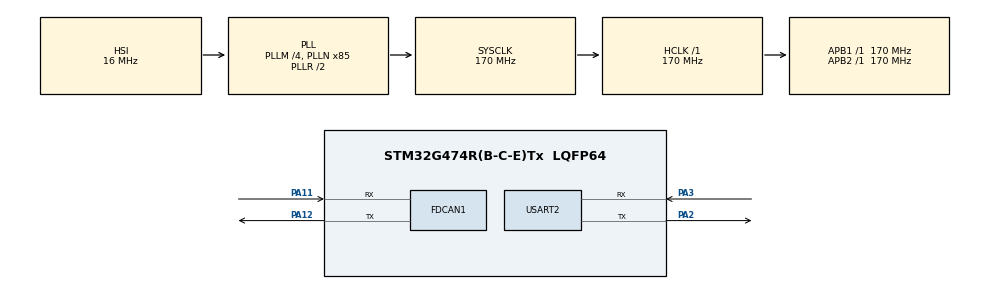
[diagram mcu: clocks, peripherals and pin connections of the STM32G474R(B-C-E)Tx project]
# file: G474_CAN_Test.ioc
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FDCAN1.CalculateBaudRateNominal=500000
FDCAN1.CalculateTimeBitNominal=2000
FDCAN1.CalculateTimeQuantumNominal=100.0
FDCAN1.NominalPrescaler=17
FDCAN1.NominalTimeSeg1=17
FDCAN1.NominalTimeSeg2=2
FREERTOS.Tasks01=defaultTask,0,128,StartDefaultTask,Default,NULL,Dynamic,NULL,NULL
FREERTOS.configCHECK_FOR_STACK_OVERFLOW=1
FREERTOS.configTOTAL_HEAP_SIZE=16384
Mcu.Family=STM32G4
Mcu.Name=STM32G474R(B-C-E)Tx
Mcu.Package=LQFP64
NUCLEO-G474RE.BUTTON=0
NUCLEO-G474RE.LD2=false
NUCLEO-G474RE.VCP=false
NVIC.FDCAN1_IT0_IRQn=true\:5\:0\:false\:false\:true\:true\:true\:true\:true
NVIC.FDCAN1_IT1_IRQn=true\:5\:0\:false\:false\:true\:true\:true\:true\:true
NVIC.PriorityGroup=NVIC_PRIORITYGROUP_4
NVIC.TIM1_UP_TIM16_IRQn=true\:15\:0\:false\:false\:true\:false\:false\:true\:true
NVIC.TimeBase=TIM1_UP_TIM16_IRQn
NVIC.TimeBaseIP=TIM1
NVIC.USART2_IRQn=true\:5\:0\:true\:false\:true\:true\:true\:true\:true
PA11.Mode=FDCAN_Activate
PA11.Signal=FDCAN1_RX
PA12.Mode=FDCAN_Activate
PA12.Signal=FDCAN1_TX
PA2.Mode=Asynchronous
PA2.Signal=USART2_TX
PA3.Mode=Asynchronous
PA3.Signal=USART2_RX
PB3.GPIO_Label=T_SWO
PB3.Signal=SYS_JTDO-SWO
PC14-OSC32_IN.GPIO_Label=RCC_OSC32_IN
PC14-OSC32_IN.Signal=RCC_OSC32_IN
PC15-OSC32_OUT.GPIO_Label=RCC_OSC32_OUT
PC15-OSC32_OUT.Signal=RCC_OSC32_OUT
PF0-OSC_IN.GPIO_Label=RCC_OSC_IN
PF0-OSC_IN.Signal=RCC_OSC_IN
PF1-OSC_OUT.GPIO_Label=RCC_OSC_OUT
PF1-OSC_OUT.Signal=RCC_OSC_OUT
ProjectManager.HeapSize=0x200
ProjectManager.StackSize=0x400
ProjectManager.TargetToolchain=CMake
RCC.ADC12Freq_Value=170000000
RCC.ADC345Freq_Value=170000000
RCC.AHBFreq_Value=170000000
RCC.APB1Freq_Value=170000000
RCC.APB1TimFreq_Value=170000000
RCC.APB2Freq_Value=170000000
RCC.APB2TimFreq_Value=170000000
RCC.CortexFreq_Value=170000000
RCC.EXTERNAL_CLOCK_VALUE=12288000
RCC.HCLKFreq_Value=170000000
RCC.HSE_VALUE=24000000
RCC.HSI48_VALUE=48000000
RCC.HSI_VALUE=16000000
RCC.LSE_VALUE=32768
RCC.PLLM=RCC_PLLM_DIV4
RCC.PLLN=85
RCC.RTCClockSelection=RCC_RTCCLKSOURCE_LSE
RCC.SYSCLKFreq_VALUE=170000000
RCC.SYSCLKSource=RCC_SYSCLKSOURCE_PLLCLK
RCC.USBFreq_Value=170000000
RCC.VCOOutputFreq_Value=340000000
USART2.VirtualMode-Asynchronous=VM_ASYNC
VP_FREERTOS_VS_CMSIS_V1.Mode=CMSIS_V1
VP_NUCLEO-G474RE_VS_BSP_COMMON.Mode=COMMON
VP_SYS_VS_DBSignals.Mode=DisableDeadBatterySignals
VP_SYS_VS_tim1.Mode=TIM1
board=NUCLEO-G474RE

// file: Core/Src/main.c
/* USER CODE BEGIN Header */
/**
  ******************************************************************************
  * @file           : main.c
  * @brief          : Main program body
  ******************************************************************************
  * @attention
  *
  * Copyright (c) 2026 STMicroelectronics.
  * All rights reserved.
  *
  * This software is licensed under terms that can be found in the LICENSE file
  * in the root directory of this software component.
  * If no LICENSE file comes with this software, it is provided AS-IS.
  *
  ******************************************************************************
  */
/* USER CODE END Header */
#include "main.h"
#include "cmsis_os.h"
#include "fdcan.h"
#include "usart.h"
#include "gpio.h"

/* USER CODE BEGIN Includes */
#include "slave_driver.h"
#include "commander.h"
#include "stdio.h"
// #include "logger.h"
// #include "UART_DMA.h"
/* USER CODE END Includes */

/* USER CODE BEGIN PV */
// extern TaskHandle_t task_DMA_UART_Notify;

TaskHandle_t task_esc_init_handle;
TaskHandle_t task_slave_monitor_handle;
TaskHandle_t task_handle_commands;

SlaveState_t esc_status[NUM_SLAVES];
/* USER CODE END PV */

void SystemClock_Config(void);
void MX_FREERTOS_Init(void);
/* USER CODE BEGIN PFP */
static void commander_task(void *pvParameters);
static void esc_init_task(void *pvParameters);
static void slave_monitor_task(void *pvParameters);
/* USER CODE END PFP */

/* USER CODE BEGIN 0 */
int _write(int file, char *ptr, int len)
{
    uint8_t cr = '\r';
    for (int i = 0; i < len; i++)
    {
        if (ptr[i] == '\n'){
          HAL_UART_Transmit(&huart2, &cr, 1, HAL_MAX_DELAY);
          // ITM_SendChar('\r');
        }
        // ITM_SendChar(ptr[i]);
        HAL_UART_Transmit(&huart2, (uint8_t *)&ptr[i], 1, HAL_MAX_DELAY);
    }
    return len;
}
/* USER CODE END 0 */

int main(void)
{

  /* USER CODE BEGIN 1 */
  BaseType_t status;
  /* USER CODE END 1 */

  /* MCU Configuration--------------------------------------------------------*/

  /* Reset of all peripherals, Initializes the Flash interface and the Systick. */

  HAL_Init();

  /* Configure the system clock */
  SystemClock_Config();

  /* Initialize all configured peripherals */
  MX_GPIO_Init();
  MX_FDCAN1_Init();
  MX_USART2_UART_Init();
  /* USER CODE BEGIN 2 */

  printf("Starting system...\r\n");

  SlaveDriver_Init(&hfdcan1);

  Commander_Init(&huart2);

  status = xTaskCreate(commander_task, "CommanderTask", 1024, NULL, 2, &task_handle_commands);
  configASSERT(status == pdPASS);

  // Zadanie inicjalizacji ESC
  status = xTaskCreate(esc_init_task, "ESC_Init_Task", 1024, NULL, 6, &task_esc_init_handle);
  configASSERT(status == pdPASS);

  // Monitorowanie slave'ów, kopiowanie ich stanów do zmiennych globalnych
  // status = xTaskCreate(slave_monitor_task, "SlaveMonitorTask", 1024, NULL, 7, &task_slave_monitor_handle);
  // configASSERT(status == pdPASS);

  // loggerInit(false, &hcom_uart[COM1]);

  /* USER CODE END 2 */

  /* Call init function for freertos objects (in cmsis_os2.c) */
  MX_FREERTOS_Init();

  /* Start scheduler */
  osKernelStart();

  /* We should never get here as control is now taken by the scheduler */

  /* Infinite loop */
  while (1)
  {

  }
}

void SystemClock_Config(void)
{
  RCC_OscInitTypeDef RCC_OscInitStruct = {0};
  RCC_ClkInitTypeDef RCC_ClkInitStruct = {0};

  /** Configure the main internal regulator output voltage
  */
  HAL_PWREx_ControlVoltageScaling(PWR_REGULATOR_VOLTAGE_SCALE1_BOOST);

  /** Initializes the RCC Oscillators according to the specified parameters
  * in the RCC_OscInitTypeDef structure.
  */
  RCC_OscInitStruct.OscillatorType = RCC_OSCILLATORTYPE_HSI;
  RCC_OscInitStruct.HSIState = RCC_HSI_ON;
  RCC_OscInitStruct.HSICalibrationValue = RCC_HSICALIBRATION_DEFAULT;
  RCC_OscInitStruct.PLL.PLLState = RCC_PLL_ON;
  RCC_OscInitStruct.PLL.PLLSource = RCC_PLLSOURCE_HSI;
  RCC_OscInitStruct.PLL.PLLM = RCC_PLLM_DIV4;
  RCC_OscInitStruct.PLL.PLLN = 85;
  RCC_OscInitStruct.PLL.PLLP = RCC_PLLP_DIV2;
  RCC_OscInitStruct.PLL.PLLQ = RCC_PLLQ_DIV2;
  RCC_OscInitStruct.PLL.PLLR = RCC_PLLR_DIV2;
  if (HAL_RCC_OscConfig(&RCC_OscInitStruct) != HAL_OK)
  {
    Error_Handler();
  }

  /** Initializes the CPU, AHB and APB buses clocks
  */
  RCC_ClkInitStruct.ClockType = RCC_CLOCKTYPE_HCLK|RCC_CLOCKTYPE_SYSCLK
                              |RCC_CLOCKTYPE_PCLK1|RCC_CLOCKTYPE_PCLK2;
  RCC_ClkInitStruct.SYSCLKSource = RCC_SYSCLKSOURCE_PLLCLK;
  RCC_ClkInitStruct.AHBCLKDivider = RCC_SYSCLK_DIV1;
  RCC_ClkInitStruct.APB1CLKDivider = RCC_HCLK_DIV1;
  RCC_ClkInitStruct.APB2CLKDivider = RCC_HCLK_DIV1;

  if (HAL_RCC_ClockConfig(&RCC_ClkInitStruct, FLASH_LATENCY_4) != HAL_OK)
  {
    Error_Handler();
  }
}

/* USER CODE BEGIN 4 */

// void HAL_UART_TxCpltCallback(UART_HandleTypeDef *huart)
// {
//   if (huart->Instance == USART1)
//   {
//     BaseType_t xHigherPriorityTaskWoken = pdFALSE;
//     vTaskNotifyGiveIndexedFromISR(task_DMA_UART_Notify, NOTIFICATION_DMA, &xHigherPriorityTaskWoken);
//     task_DMA_UART_Notify = NULL;
//     portYIELD_FROM_ISR(xHigherPriorityTaskWoken);
//   }
// }

// void HAL_UARTEx_RxEventCallback(UART_HandleTypeDef *huart, uint16_t Size)
// {
//   if (huart->Instance == USART1)
//   {
//     UARTDMA_IrqHandler(&huartdma);
//   }
//   return;
// }

static void commander_task(void* pvParameters) {
  for (;;) {
      Commander_Process();
      vTaskDelay(pdMS_TO_TICKS(20));
  }
}

static void esc_init_task(void *pvParameters)
{
  (void)pvParameters;
#if ONLY_SHIELD
  // logger(LOG_ERROR, "No shield detected");
  vTaskDelete(NULL);
#endif
  // logger(LOG_INFO, "Initializing ESC...");
  SlaveDriver_InitESCs();
  // logger(LOG_INFO, "ESC Initialized.");
  vTaskDelete(NULL);
}

static void slave_monitor_task(void *pvParameters)
{
  (void)pvParameters;
#if ONLY_SHIELD
  // logger(LOG_ERROR, "No Shield detected");
  vTaskDelete(NULL);
#endif

  while (1)
  {
    ulTaskNotifyTake(pdTRUE, portMAX_DELAY); // Notify z callbacku CAN

    // if (controller_state != WAITING && controller_state != CALIBRATE_TORQUE) {
    //   continue;
    // }

    // Sprawdź stan wszystkich ESC
    for (int role = 0; role < NUM_SLAVES; role++)
    {

      SlaveDriver_GetStateCopy_RTOS((SlaveRole_t)role, &esc_status[role]);

      if (esc_status[role].last_heartbeat_tick == 0 ||
          (HAL_GetTick() - esc_status[role].last_heartbeat_tick) > 2000)
      {
        // logger(LOG_ERROR, "Motor %d lost heartbeat!", role);
        SlaveDriver_StopAll();
        // disarm();

        break;
      }

      if (esc_status[role].occurred_faults != MC_NO_ERROR)
      {
        if (esc_status[role].axis_error != MC_NO_ERROR)
        {
          // logger(LOG_ERROR, "Motor %d Axis Error: 0x%X", role, esc_status[role].axis_error);

          // logger(LOG_INFO, "System przechodzi w stan awaryjny (ERROR). Zatrzymywanie silnikow.");
          SlaveDriver_StopAll();
          // disarm();
          break;
        }
      }
    }
  }
}

/* USER CODE END 4 */

void HAL_TIM_PeriodElapsedCallback(TIM_HandleTypeDef *htim)
{
  if (htim->Instance == TIM1)
  {
    HAL_IncTick();
  }
}

void Error_Handler(void)
{
  __disable_irq();
  while (1)
  {
  }
}

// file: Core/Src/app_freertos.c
/* USER CODE BEGIN Header */
/**
  ******************************************************************************
  * File Name          : app_freertos.c
  * Description        : Code for freertos applications
  ******************************************************************************
  * @attention
  *
  * Copyright (c) 2026 STMicroelectronics.
  * All rights reserved.
  *
  * This software is licensed under terms that can be found in the LICENSE file
  * in the root directory of this software component.
  * If no LICENSE file comes with this software, it is provided AS-IS.
  *
  ******************************************************************************
  */
/* USER CODE END Header */

#include "FreeRTOS.h"
#include "task.h"
#include "main.h"
#include "cmsis_os.h"

osThreadId defaultTaskHandle;

void StartDefaultTask(void const * argument);

void MX_FREERTOS_Init(void); /* (MISRA C 2004 rule 8.1) */

/* Hook prototypes */
void vApplicationStackOverflowHook(xTaskHandle xTask, signed char *pcTaskName);

/* USER CODE BEGIN 4 */
__weak void vApplicationStackOverflowHook(xTaskHandle xTask, signed char *pcTaskName)
{
   /* Run time stack overflow checking is performed if
   configCHECK_FOR_STACK_OVERFLOW is defined to 1 or 2. This hook function is
   called if a stack overflow is detected. */
}
/* USER CODE END 4 */

void MX_FREERTOS_Init(void) {

  /* Create the thread(s) */
  /* definition and creation of defaultTask */
  osThreadDef(defaultTask, StartDefaultTask, osPriorityNormal, 0, 128);
  defaultTaskHandle = osThreadCreate(osThread(defaultTask), NULL);

}

void StartDefaultTask(void const * argument)
{
  for(;;)
  {
    osDelay(1);
  }
}
